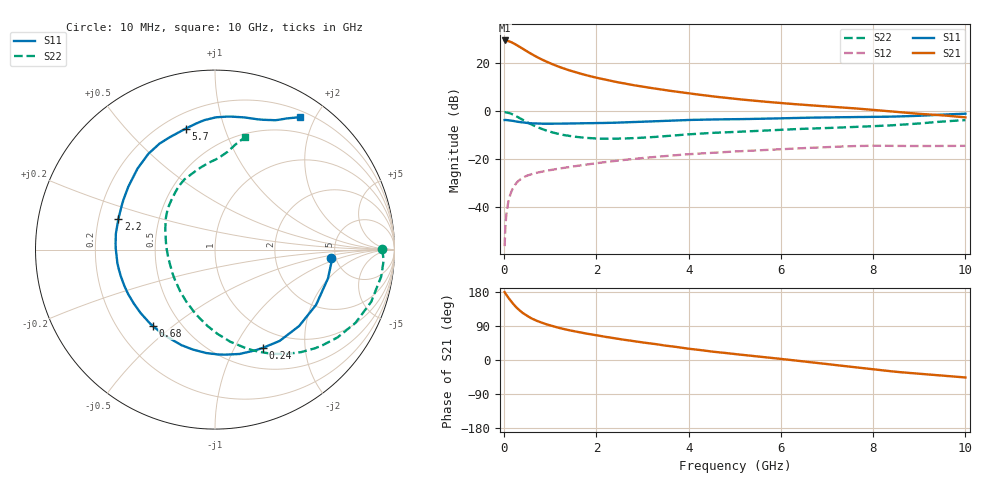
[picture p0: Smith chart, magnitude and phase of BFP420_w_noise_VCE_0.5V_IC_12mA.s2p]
! Infineon Technologies  Discrete & RF Semiconductors
! BFP420
! VCE =  0.5 V,  IC =  12 mA
! Common Emitter S-Parameters:  Jan 2016
# GHz  S  MA  R  50
!  f  S11  S21  S12  S22
! GHz  MAG  ANG  MAG  ANG  MAG  ANG  MAG  ANG
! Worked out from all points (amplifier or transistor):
!   233 points, 10 MHz to 10 GHz, reference 50 ohm
!   highest |S21| = 29.5 dB at 10 MHz (marker M1)
!   |S21| within 3 dB of that: start of sweep to 364.6 MHz
!   unconditionally stable (mu >= 1): 2.062 GHz to end of sweep
!   at 200 MHz: K = 0.17, MSG = 30.1 dB, |S12| = -31.9 dB
!   at 1.74 GHz: K = 0.92, MSG = 18.8 dB, |S12| = -22.5 dB
!   at 10 GHz: K = 1.05, MAG = 4.5 dB, |S12| = -14.6 dB
!   lowest NFmin = 0.95 dB at 900 MHz
!   S11 on the Smith chart (normalised r, x): 10 MHz: 4.58, -0.72; 240 MHz: 0.75, -1.31; 680 MHz: 0.35, -0.43; 2.2 GHz: 0.28, +0.14; 5.7 GHz: 0.29, +0.74; 10 GHz: 0.28, +1.80
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0.01  0.6491 -4.0  29.83 179.2  0.0015 89.6  0.9314 0.1
0.05  0.6497 -14.2  29.35 171.5  0.0071 84.6  0.9381 -9.2
0.1  0.6419 -28.6  28.82 163.0  0.0138 77.6  0.9176 -18.5
0.145  0.6324 -40.9  27.73 155.6  0.0195 72.0  0.8854 -26.6
0.2  0.6233 -54.7  26.23 147.5  0.0254 66.3  0.8402 -35.6
0.24  0.6093 -63.9  24.9 142.1  0.0291 62.6  0.8027 -41.5
0.3  0.5973 -76.8  23.08 134.6  0.034 57.8  0.7464 -49.9
0.34  0.5882 -84.4  21.84 130.4  0.0367 55.1  0.7091 -54.9
0.45  0.5705 -102.4  18.77 120.1  0.0426 49.3  0.618 -67.0
0.6  0.5545 -121.3  15.38 109.3  0.0482 44.3  0.5195 -80.7
0.68  0.5482 -129.2  13.95 104.9  0.0505 42.7  0.4784 -86.7
0.9  0.543 -146.6  10.94 94.7  0.0561 39.8  0.3956 -101.8
1.08  0.5435 -157.3  9.236 88.2  0.0601 38.7  0.3512 -112.4
1.4  0.5491 -172.1  7.152 78.8  0.0673 37.4  0.3036 -129.5
1.68  0.5541 177.8  5.953 72.1  0.0736 36.6  0.2807 -142.3
2.2  0.5644 162.6  4.499 61.0  0.0858 34.4  0.2638 -163.0
3.4  0.6176 135.7  2.82 39.8  0.1126 26.6  0.294 160.0
5.1  0.677 110.6  1.759 14.4  0.1443 13.2  0.3689 130.8
5.7  0.6933 103.7  1.554 6.8  0.1542 8.6  0.3927 123.4
6.8  0.7308 91.7  1.285 -7.9  0.1731 -1.1  0.4346 109.6
8.4  0.7635 72.0  0.978 -29.9  0.1869 -18.3  0.5029 89.4
10  0.878 57.2  0.738 -46.1  0.1872 -29.5  0.6475 75.0
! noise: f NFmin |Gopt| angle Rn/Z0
0.9  0.95  0.03  -151  0.13
1.8  1.27  0.13  -152  0.12
2.4  1.38  0.13  -160  0.14
3  1.43  0.22  -145  0.13
4  1.58  0.35  -123  0.17
5  2.03  0.43  -103  0.28
6  2.4  0.47  -91  0.43
